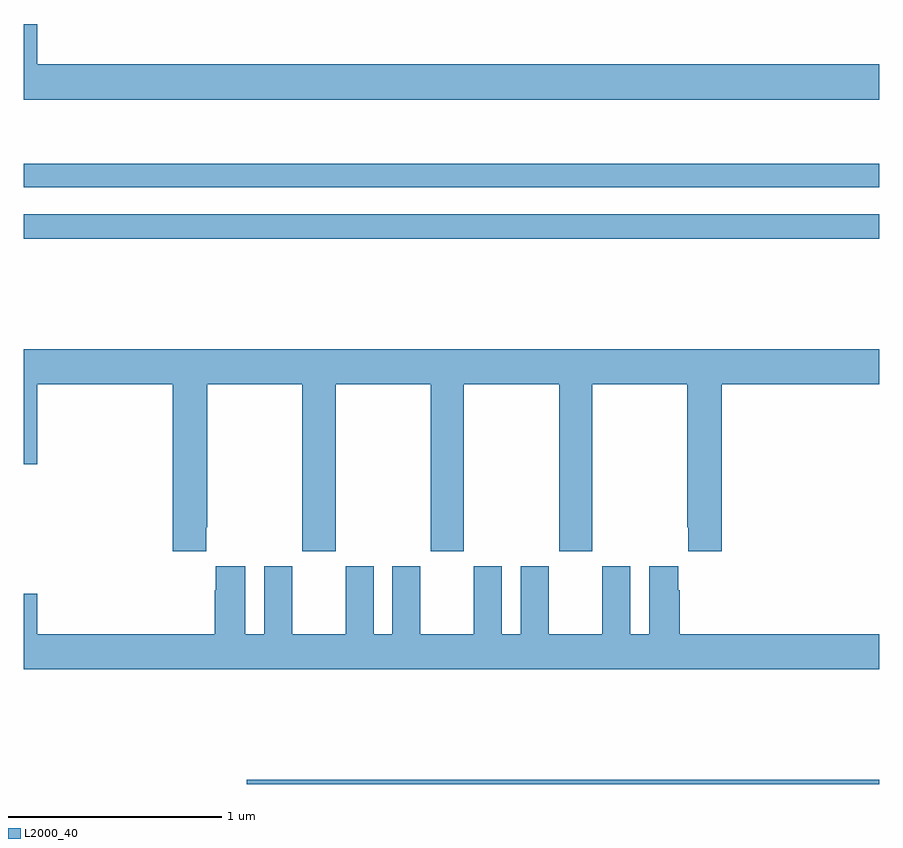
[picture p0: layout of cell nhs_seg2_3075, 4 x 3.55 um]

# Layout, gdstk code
import gdstk
lib = gdstk.Library(unit=1e-6, precision=1e-09)
def R(c, l, rs):  # rectangles x0, y0, x1, y1
    for r in rs: c.add(gdstk.rectangle(r[:2], r[2:], *l))
def P(c, l, *ps):  # polygons
    for p in ps: c.add(gdstk.Polygon(p, *l))
L2000_40 = (2000, 40)

nhs_seg2_3075 = lib.new_cell('nhs_seg2_3075')
R(nhs_seg2_3075, L2000_40, [(274.043,613.8,277,613.82), (273,616.348,277,616.464), (273,616.59,277,616.699)])
P(nhs_seg2_3075, L2000_40, [(277,617.164),(273.064,617.164),(273.064,617.353),(273,617.353),(273,617),(277,617)],
  [(273.853,615.001),(273.858,615.001),(273.858,615.668),(274.303,615.668),(274.303,614.889),(274.458,614.889),(274.458,615.668),(274.903,615.668),(274.903,614.889),(275.058,614.889),(275.058,615.668),(275.503,615.668),(275.503,614.889),(275.658,614.889),(275.658,615.668),(276.103,615.668),(276.103,615.001),(276.107,615.001),(276.107,614.889),(276.263,614.889),(276.263,615.668),(277,615.668),(277,615.832),(273,615.832),(273,615.294),(273.064,615.294),(273.064,615.668),(273.698,615.668),(273.698,614.889),(273.853,614.889)],
  [(277,614.5),(276.068,614.5),(276.068,614.705),(276.061,614.705),(276.061,614.818),(275.924,614.818),(275.924,614.5),(275.836,614.5),(275.836,614.818),(275.705,614.818),(275.705,614.5),(275.455,614.5),(275.455,614.818),(275.324,614.818),(275.324,614.5),(275.236,614.5),(275.236,614.818),(275.105,614.818),(275.105,614.5),(274.855,614.5),(274.855,614.818),(274.724,614.818),(274.724,614.5),(274.636,614.5),(274.636,614.818),(274.505,614.818),(274.505,614.5),(274.255,614.5),(274.255,614.818),(274.124,614.818),(274.124,614.5),(274.036,614.5),(274.036,614.818),(273.899,614.818),(273.899,614.705),(273.893,614.705),(273.893,614.5),(273.064,614.5),(273.064,614.689),(273,614.689),(273,614.336),(277,614.336)])

lib.write_gds('nhs_seg2_3075.gds')
